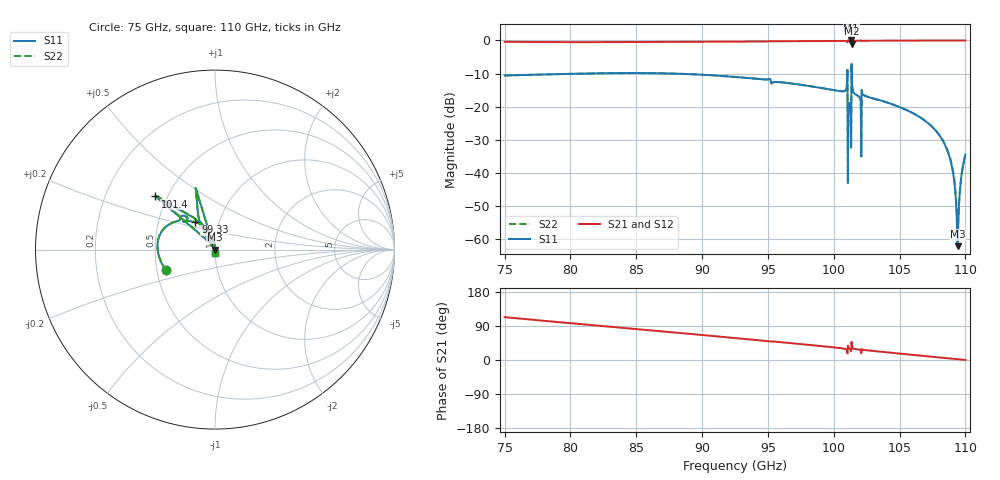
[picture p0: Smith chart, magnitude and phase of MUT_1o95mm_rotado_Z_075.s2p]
! TOUCHSTONE file generated by CST MICROWAVE STUDIO
! Date and time: Fri Feb 16 12:03:44 2024
! Project name: material_rotado.cst
! Parameters = {angX=0.75; angY=0.75}
! Header version: 2018
! Port assignment regex: !\s*Touchstone port\s*([0-9]+)\s*=\s*(CST MWS port|CST DS port)\s*([0-9]+|Zmin|Zmax)\s*\(\"(.*)\"\)(\s*mode\s*([0-9]+))?.*
! Touchstone port assignment:
! Touchstone port 1 = CST MWS port 1 ("")
! Touchstone port 2 = CST MWS port 2 ("")
# GHz S MA R 376.7
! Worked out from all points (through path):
!   1001 points, 75 GHz to 110 GHz, reference 376.7 ohm
!   highest |S21| = 0.00 dB at 101.3 GHz (marker M1); lowest = -1.0 dB at 101.4 GHz (marker M2)
!   group delay of S21, straight-line fit = 8.92 ps
!   lowest |S11| = -62.2 dB at 109.4 GHz (marker M3), VSWR 1.00, Z = 376 - j0.0204 ohm
!   |S11| at or under -10 dB: start of sweep to 80.96 GHz; 87.7 GHz to 101 GHz (13.33 GHz wide, 14.1 % of centre); 101.4 GHz to end of sweep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
!   |S22| runs from -56.4 to -7.0 dB; largest |S21 - S12| = 0
!   S11 on the Smith chart (normalised r, x): 75 GHz: 0.56, -0.14; 99.33 GHz: 0.77, +0.24; 101.4 GHz: 0.43, +0.32; 110 GHz: 1.00, -0.04
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75  0.2957 -156.9  0.9553 113.1  0.9553 113.1  0.2957 -156.9
80.845  0.3159 -174.8  0.9429 94.5  0.9429 94.5  0.3153 -174.8
86.69  0.3194 166.2  0.9498 76.4  0.9498 76.4  0.3196 166.2
92.5  0.281 147.9  0.9597 57.9  0.9597 57.9  0.281 148.0
98.345  0.2019 129.0  0.9794 39.1  0.9794 39.1  0.2019 129.2
99.325  0.1875 125.6  0.9823 35.8  0.9823 35.8  0.1875 125.9
100.865  0.1743 119.2  0.9846 29.3  0.9846 29.3  0.1743 119.5
101.145  0.1064 121.0  0.9943 31.2  0.9943 31.2  0.1064 121.4
101.32  0.0241 110.8  1 23.3  1 23.3  0.02412 117.2
101.355  0.445 138.2  0.8955 47.9  0.8955 47.9  0.445 137.6
101.53  0.161 119.8  0.987 29.8  0.987 29.8  0.161 119.9
101.915  0.1419 117.0  0.9897 27.6  0.9897 27.6  0.142 118.2
102.3  0.1486 116.1  0.989 26.6  0.989 26.6  0.1483 116.9
104.19  0.1132 109.7  0.9935 19.7  0.9935 19.7  0.1131 109.8
106.64  0.06733 101.7  0.997 11.4  0.997 11.4  0.06757 100.5
108.145  0.03393 97.5  0.9986 6.3  0.9986 6.3  0.03447 93.5
108.915  0.01405 96.8  0.9992 3.7  0.9992 3.7  0.01463 87.1
109.3  0.003209 106.5  0.9995 2.5  0.9995 2.5  0.003845 68.9
109.405  0.0007803 -178.0  0.9995 2.1  0.9995 2.1  0.001514 16.5
109.545  0.004314 -98.8  0.9996 1.7  0.9996 1.7  0.004157 -69.4
109.755  0.01086 -93.2  0.9997 1.0  0.9997 1.0  0.0107 -83.0
110  0.01888 -92.2  0.9998 0.1  0.9998 0.1  0.01888 -87.5
